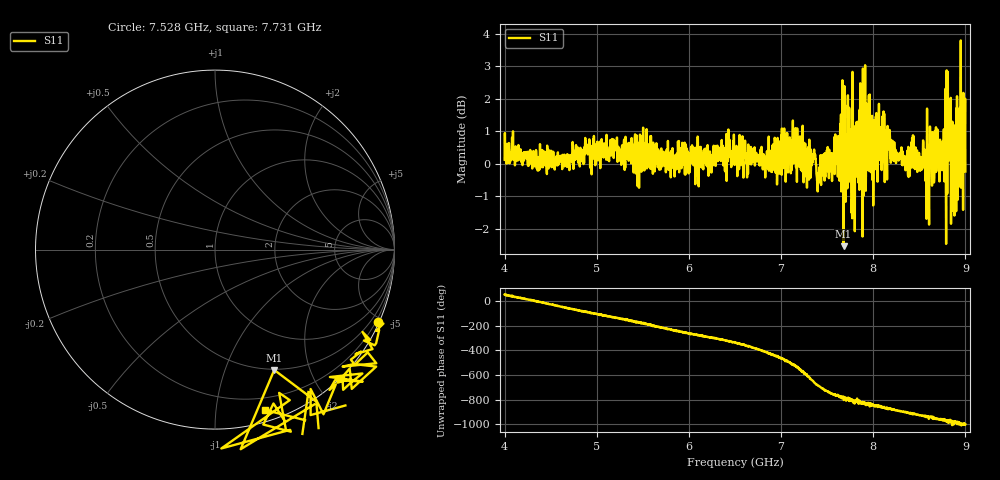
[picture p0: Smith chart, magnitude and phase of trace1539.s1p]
! Created with skrf 1.8.0 (http://scikit-rf.org).
# Hz S RI R 50.0
!freq ReS11 ImS11
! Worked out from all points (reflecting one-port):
!   1601 points, 4 GHz to 9 GHz, reference 50 ohm
!   lowest |S11| = -2.5 dB at 7.678 GHz (marker M1), VSWR 6.92, Z = 24.6 - j74.6 ohm
!   phase of S11 starts at 52 deg and turns -1051 deg over the sweep
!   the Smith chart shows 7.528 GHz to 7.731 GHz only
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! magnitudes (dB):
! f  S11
! 4 GHz  0.1
! 4.625 GHz  -0.2
! 5.194 GHz  0.5
! 5.25 GHz  0.1
! 5.875 GHz  0.3
! 6.5 GHz  0.4
! 6.816 GHz  0.1
! 7.125 GHz  0.8
! 7.353 GHz  0.3
! 7.409 GHz  -0.6
! 7.609 GHz  0.5
! 7.669 GHz  1.8
! 7.678 GHz  -2.5
! 7.75 GHz  0.4
! 7.788 GHz  0.2
! 7.8 GHz  -2.1
! 7.806 GHz  -0.3
! 7.844 GHz  1.2
! 7.897 GHz  0.7
! 7.928 GHz  1.0
! 7.997 GHz  1.3
! 8.097 GHz  0.6
! 8.375 GHz  -0.2
! 8.766 GHz  1.1
! 8.819 GHz  0.4
! 8.869 GHz  0.2
! 8.972 GHz  0.3
! 9 GHz  -0.2
